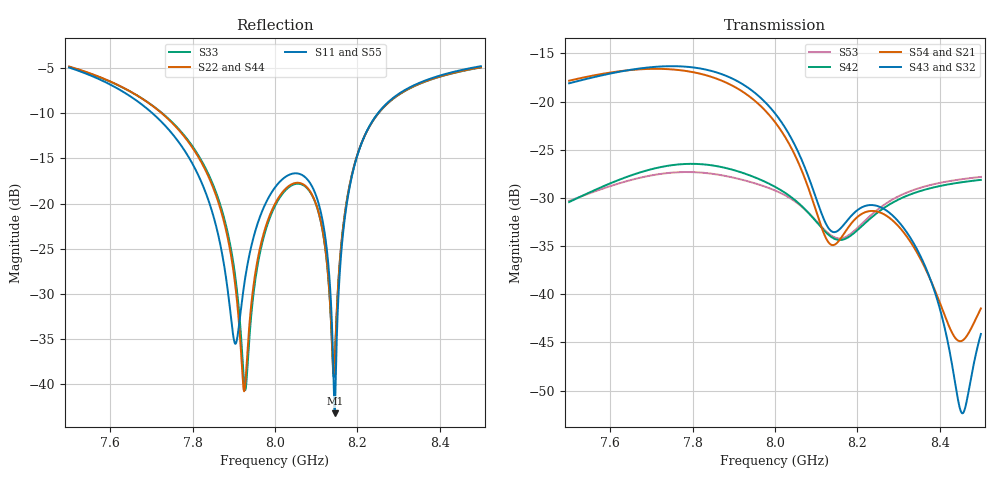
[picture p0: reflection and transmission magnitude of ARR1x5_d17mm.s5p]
! Touchstone file exported from HFSS 2025.1.0
!  File:  C:/Users/user/Documents/Ansoft/TFG_UWB-MIMO-Array.aedt
!  Generated:  09:03:14 PM Nov 21, 2026
!  Design:  ARR1x5_US3_PS4_2_1_dparam
!  Project:  TFG_UWB-MIMO-Array
!  Setup:  Setup_ch9
!  Solution:  Sweep_7p5_8p5
! Variables:
!  arr_d = 17mm
!  board_m = 13mm
!  board_x = 94mm
!  board_y = 26mm
!  cu_t = 0.035mm
!  line_w = 3.92mm
!  pad_xy = 22mm
!  pad_zn = 25mm
!  pad_zp = 33mm
!  par_L = 7.46mm
!  par_W = 10mm
!  par_yc = 0.75mm
!  par_z = 1.035mm
!  patch_L = 6.222mm
!  patch_W = 11.421266mm
!  sub_h = 2.07mm
!  tr_l = 6.6mm
!  tr_w = 0.8mm
!  u_Lu = 2.65mm
!  u_Wu = 4.4mm
!  u_t = 0.8mm
!  u_y0 = -0.7mm
# GHz S MA R 50.000000
! Terminal data exported
! Port[1] = P1
! Port[2] = P2
! Port[3] = P3
! Port[4] = P4
! Port[5] = P5
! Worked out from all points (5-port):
!   1001 points, 7.5 GHz to 8.5 GHz, reference 50 ohm
!   strongest paths, dB at 7.5 GHz, 7.75 GHz, 8 GHz, 8.25 GHz, 8.5 GHz:
!     S43: -18.1, -16.3, -21.2, -30.9, -44.1
!     S32: -18.1, -16.3, -21.3, -30.9, -44.1
!     S54: -17.8, -16.7, -22.1, -31.4, -41.5
!     S21: -17.8, -16.7, -22.2, -31.5, -41.6
!     S42: -30.4, -26.6, -28.8, -31.5, -28.1
!     S53: -30.3, -27.4, -29.2, -31.2, -27.8
!   lowest |S11| = -43.2 dB at 8.145 GHz (marker M1), VSWR 1.01, Z = 50.5 + j0.483 ohm
!   |S11| at or under -10 dB: 7.702 GHz to 8.25 GHz (547.3 MHz wide, 6.86 % of centre)
